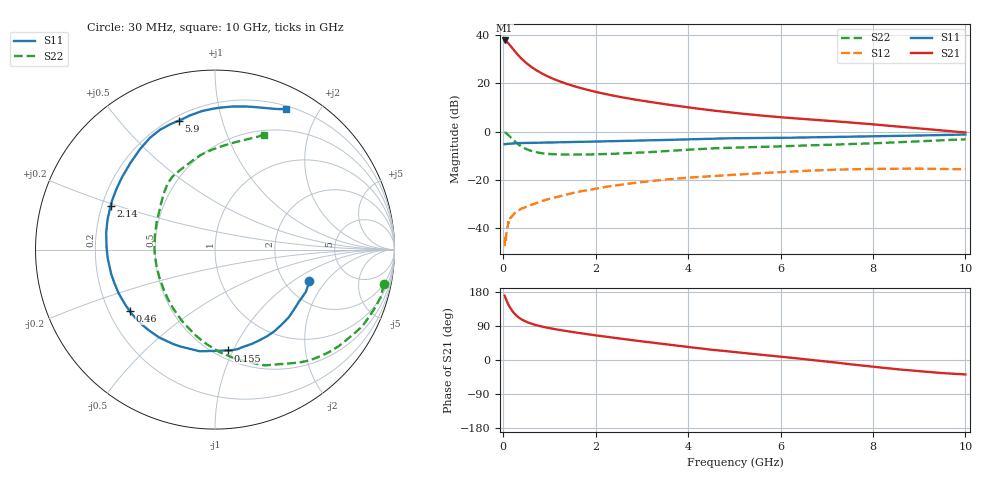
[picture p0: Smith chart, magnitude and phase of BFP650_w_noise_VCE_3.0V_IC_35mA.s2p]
! Infineon Technologies  Discrete & RF Semiconductors
! BFP650
! VCE =  3.0 V,  IC =  35 mA
! Common Emitter S-Parameters:  Jan 2016
# GHz  S  MA  R  50
!  f  S11  S21  S12  S22
! GHz  MAG  ANG  MAG  ANG  MAG  ANG  MAG  ANG
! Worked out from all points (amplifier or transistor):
!   229 points, 30 MHz to 10 GHz, reference 50 ohm
!   highest |S21| = 37.7 dB at 30 MHz (marker M1)
!   |S21| within 3 dB of that: start of sweep to 188.7 MHz
!   unconditionally stable (mu >= 1): 2.151 GHz to end of sweep
!   at 280 MHz: K = 0.37, MSG = 32.9 dB, |S12| = -33.1 dB
!   at 1.78 GHz: K = 0.97, MSG = 20.9 dB, |S12| = -24.3 dB
!   at 10 GHz: K = 1.04, MAG = 6.4 dB, |S12| = -15.5 dB
!   lowest NFmin = 0.81 dB at 450 MHz
!   S11 on the Smith chart (normalised r, x): 30 MHz: 2.70, -1.38; 155 MHz: 0.58, -0.95; 460 MHz: 0.29, -0.30; 2.14 GHz: 0.24, +0.19; 5.9 GHz: 0.23, +0.73; 10 GHz: 0.24, +1.60
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0.03  0.5546 -18.6  77.14 169.7  0.0043 88.3  0.959 -11.6
0.05  0.5502 -32.0  75.35 163.1  0.0054 64.8  0.9491 -19.8
0.065  0.5549 -40.2  74.21 159.0  0.0074 70.2  0.9303 -25.5
0.1  0.5632 -59.2  69.22 149.3  0.0114 67.6  0.875 -37.9
0.13  0.5641 -73.7  63.96 141.9  0.0148 67.6  0.8186 -48.2
0.155  0.5663 -82.8  59.91 137.0  0.0166 59.4  0.7736 -54.7
0.2  0.5729 -98.5  53.01 128.4  0.0181 55.7  0.7019 -66.8
0.24  0.5729 -109.3  47.54 122.6  0.0203 51.6  0.6429 -75.3
0.3  0.5801 -122.5  40.59 115.4  0.0229 52.4  0.5728 -87.3
0.36  0.5822 -131.9  35.12 110.0  0.0246 47.7  0.5199 -96.7
0.46  0.5857 -144.1  28.43 103.0  0.027 47.5  0.4555 -110.1
0.6  0.5897 -155.5  22.14 96.0  0.0306 47.3  0.4034 -125.0
0.9  0.5955 -171.0  14.87 86.6  0.0383 49.4  0.3529 -147.6
1.24  0.6054 177.7  10.82 78.9  0.0467 48.8  0.338 -165.0
1.7  0.6183 166.3  7.876 70.3  0.0592 47.4  0.3377 178.3
2.14  0.6308 157.2  6.232 62.9  0.0703 44.5  0.3443 166.6
3.4  0.6704 135.7  3.834 43.3  0.1001 33.4  0.3908 140.8
5.1  0.7356 113.6  2.397 19.8  0.1308 17.9  0.4731 118.8
5.9  0.7457 105.8  2.031 10.0  0.1444 10.7  0.4957 108.8
6.8  0.7687 97.4  1.751 -1.3  0.1591 1.8  0.5269 100.0
8.4  0.8158 77.7  1.315 -22.8  0.1715 -15.5  0.5976 81.6
10  0.876 63.3  0.966 -38.1  0.1677 -27.8  0.6968 66.9
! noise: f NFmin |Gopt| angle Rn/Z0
0.45  0.81  0.09  148  1.85
0.9  0.85  0.32  -170  0.08
1.9  0.98  0.37  -157  0.07
2.4  1.06  0.38  -146  0.07
3.5  1.26  0.4  -123  0.13
